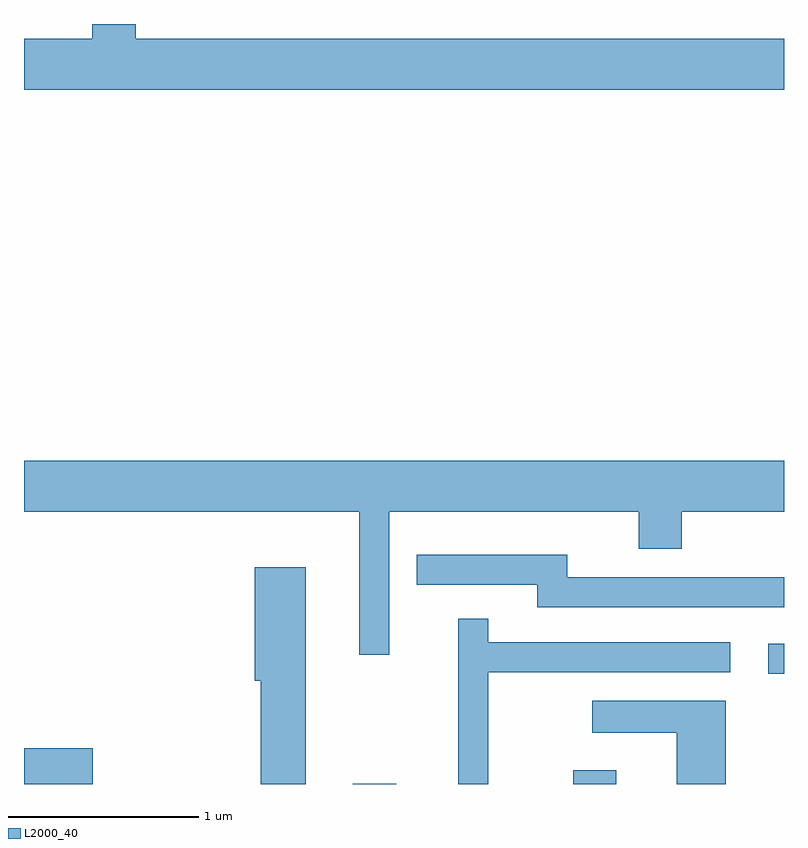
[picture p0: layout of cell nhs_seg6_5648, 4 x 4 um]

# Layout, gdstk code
import gdstk
lib = gdstk.Library(unit=1e-6, precision=1e-09)
def R(c, l, rs):  # rectangles x0, y0, x1, y1
    for r in rs: c.add(gdstk.rectangle(r[:2], r[2:], *l))
def P(c, l, *ps):  # polygons
    for p in ps: c.add(gdstk.Polygon(p, *l))
L2000_40 = (2000, 40)

nhs_seg6_5648 = lib.new_cell('nhs_seg6_5648')
R(nhs_seg6_5648, L2000_40, [(357.611,1544.162,357.974,1544.349), (359.341,1544.162,359.569,1544.164), (360.501,1544.162,360.729,1544.234), (361.528,1544.741,361.611,1544.899)])
P(nhs_seg6_5648, L2000_40, [(361.611,1548.084),(358.199,1548.084),(358.199,1548.162),(357.971,1548.162),(357.971,1548.084),(357.611,1548.084),(357.611,1547.816),(361.611,1547.816)],
  [(359.534,1545.596),(360.846,1545.596),(360.846,1545.401),(361.074,1545.401),(361.074,1545.596),(361.611,1545.596),(361.611,1545.864),(357.611,1545.864),(357.611,1545.596),(359.376,1545.596),(359.376,1544.843),(359.534,1544.843)],
  [(361.611,1545.249),(360.469,1545.249),(360.469,1545.369),(359.678,1545.369),(359.678,1545.211),(360.311,1545.211),(360.311,1545.091),(361.611,1545.091)],
  [(359.094,1545.304),(358.826,1545.304),(358.826,1544.706),(358.856,1544.706),(358.856,1544.162),(359.094,1544.162)],
  [(360.054,1544.751),(361.328,1544.751),(361.328,1544.909),(360.054,1544.909),(360.054,1545.033),(359.896,1545.033),(359.896,1544.162),(360.054,1544.162)],
  [(361.304,1544.599),(360.603,1544.599),(360.603,1544.431),(361.046,1544.431),(361.046,1544.162),(361.304,1544.162)])

lib.write_gds('nhs_seg6_5648.gds')
